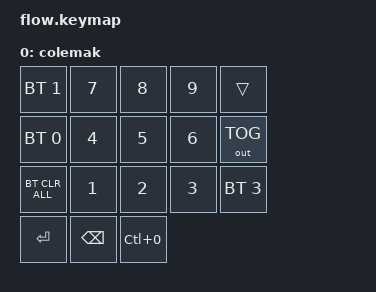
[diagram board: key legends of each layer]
#include <behaviors.dtsi>
#include <dt-bindings/zmk/bt.h>
#include <dt-bindings/zmk/keys.h>
#include <dt-bindings/zmk/outputs.h>

/ {
    keymap {
        compatible = "zmk,keymap";

        colemak {
            bindings = <
&bt BT_SEL 1    &kp N7         &kp N8        &kp N9        &trans
&bt BT_SEL 0    &kp N4         &kp N5        &kp N6        &out OUT_TOG
&bt BT_CLR_ALL  &kp NUMBER_1   &kp NUMBER_2  &kp NUMBER_3  &bt BT_SEL 3
&kp ENTER       &kp BACKSPACE  &kp LC(N0)
            >;
        };
    };
};
